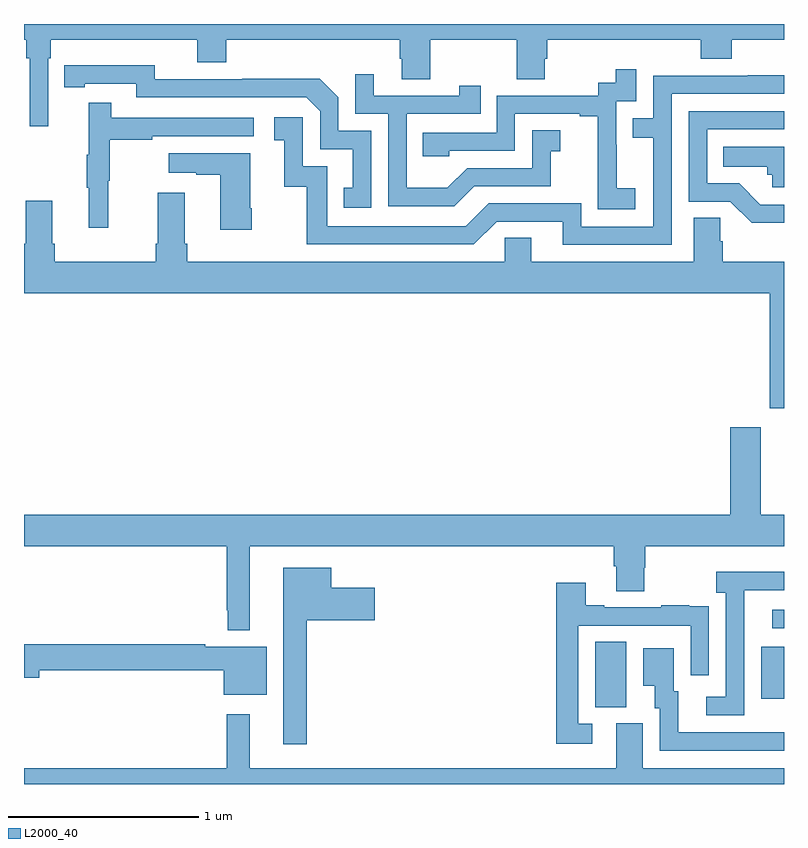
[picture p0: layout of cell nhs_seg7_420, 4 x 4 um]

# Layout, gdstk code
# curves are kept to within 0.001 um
import gdstk
lib = gdstk.Library(unit=1e-6, precision=1e-09)
def R(c, l, rs):  # rectangles x0, y0, x1, y1
    for r in rs: c.add(gdstk.rectangle(r[:2], r[2:], *l))
def P(c, l, *ps):  # polygons
    for p in ps: c.add(gdstk.Polygon(p, *l))
L2000_40 = (2000, 40)

nhs_seg7_420 = lib.new_cell('nhs_seg7_420')
R(nhs_seg7_420, L2000_40, [(146.006,1030.405,146.17,1030.748), (146.879,1030.449,147,1030.723), (146.937,1030.821,147,1030.917)])
P(nhs_seg7_420, L2000_40, [(146.561,1033.817),(146.726,1033.817),(146.726,1033.916),(147,1033.916),(147,1034),(143,1034),(143,1033.916),(143.011,1033.916),(143.011,1033.82),(143.03,1033.82),(143.03,1033.461),(143.127,1033.461),(143.127,1033.82),(143.141,1033.82),(143.141,1033.916),(143.912,1033.916),(143.912,1033.799),(144.065,1033.799),(144.065,1033.916),(144.977,1033.916),(144.977,1033.818),(144.989,1033.818),(144.989,1033.708),(145.137,1033.708),(145.137,1033.916),(145.594,1033.916),(145.594,1033.708),(145.741,1033.708),(145.741,1033.818),(145.754,1033.818),(145.754,1033.916),(146.561,1033.916)],
  [(144.828,1033.437),(144.654,1033.437),(144.654,1033.614),(144.556,1033.712),(144.148,1033.712),(144.148,1033.71),(143.688,1033.71),(143.688,1033.783),(143.212,1033.782),(143.212,1033.666),(143.32,1033.666),(143.32,1033.686),(143.592,1033.686),(143.592,1033.614),(144.486,1033.614),(144.558,1033.542),(144.558,1033.341),(144.731,1033.341),(144.731,1033.137),(144.682,1033.137),(144.682,1033.032),(144.828,1033.032)],
  [(146.218,1033.135),(146.12,1033.135),(146.12,1033.364),(146.118,1033.364),(146.118,1033.593),(146.223,1033.593),(146.223,1033.762),(146.115,1033.762),(146.115,1033.692),(146.022,1033.692),(146.022,1033.623),(145.488,1033.623),(145.488,1033.428),(145.099,1033.428),(145.099,1033.305),(145.239,1033.305),(145.239,1033.332),(145.584,1033.332),(145.584,1033.527),(145.925,1033.527),(145.925,1033.515),(146.021,1033.515),(146.021,1033.231),(146.02,1033.231),(146.02,1033.025),(146.218,1033.025)],
  [(145.369,1033.146),(145.773,1033.146),(145.773,1033.331),(145.822,1033.331),(145.822,1033.441),(145.674,1033.441),(145.674,1033.242),(145.332,1033.242),(145.228,1033.138),(145.014,1033.138),(145.014,1033.527),(145.403,1033.527),(145.403,1033.675),(145.292,1033.675),(145.292,1033.623),(144.841,1033.623),(144.841,1033.735),(144.744,1033.735),(144.744,1033.527),(144.918,1033.527),(144.918,1033.041),(145.264,1033.041)],
  [(146.409,1033.632),(147,1033.632),(147,1033.73),(146.809,1033.73),(146.809,1033.728),(146.313,1033.728),(146.313,1033.503),(146.203,1033.503),(146.203,1033.402),(146.313,1033.402),(146.313,1032.933),(145.932,1032.933),(145.932,1033.056),(145.446,1033.056),(145.326,1032.936),(144.597,1032.936),(144.597,1033.251),(144.468,1033.251),(144.468,1033.51),(144.318,1033.51),(144.318,1033.389),(144.371,1033.389),(144.371,1033.143),(144.489,1033.143),(144.489,1032.84),(145.368,1032.84),(145.488,1032.96),(145.835,1032.96),(145.835,1032.837),(146.409,1032.837)],
  [(143.444,1033.176),(143.452,1033.176),(143.452,1033.39),(143.675,1033.39),(143.675,1033.41),(144.208,1033.41),(144.208,1033.506),(143.459,1033.506),(143.459,1033.585),(143.342,1033.585),(143.342,1033.313),(143.331,1033.313),(143.331,1033.139),(143.342,1033.139),(143.342,1032.927),(143.444,1032.927)],
  [(147,1033.05),(146.875,1033.05),(146.764,1033.161),(146.595,1033.161),(146.595,1033.446),(147,1033.446),(147,1033.542),(146.499,1033.542),(146.499,1033.065),(146.718,1033.065),(146.831,1032.953),(147,1032.953)],
  [(147,1033.354),(146.68,1033.354),(146.68,1033.25),(146.911,1033.25),(146.911,1033.206),(146.937,1033.206),(146.937,1033.142),(147,1033.142)],
  [(144.198,1033.03),(144.19,1033.03),(144.19,1033.321),(143.763,1033.321),(143.763,1033.217),(143.906,1033.217),(143.906,1033.207),(144.032,1033.207),(144.032,1032.918),(144.198,1032.918)],
  [(147,1032.748),(146.678,1032.748),(146.678,1032.857),(146.664,1032.857),(146.664,1032.98),(146.525,1032.98),(146.525,1032.748),(145.669,1032.748),(145.669,1032.875),(145.53,1032.875),(145.53,1032.748),(143.858,1032.748),(143.858,1032.844),(143.845,1032.844),(143.845,1033.111),(143.705,1033.111),(143.705,1032.844),(143.693,1032.844),(143.693,1032.748),(143.162,1032.748),(143.162,1032.844),(143.149,1032.844),(143.149,1033.069),(143.009,1033.069),(143.009,1032.844),(143,1032.844),(143,1032.584),(146.924,1032.584),(146.924,1031.978),(147,1031.978)],
  [(144.187,1031.252),(146.105,1031.252),(146.105,1031.146),(146.117,1031.146),(146.117,1031.014),(146.265,1031.014),(146.265,1031.139),(146.27,1031.139),(146.27,1031.252),(147,1031.252),(147,1031.416),(146.877,1031.416),(146.877,1031.878),(146.717,1031.878),(146.717,1031.416),(143,1031.416),(143,1031.252),(144.066,1031.252),(144.066,1030.915),(144.072,1030.915),(144.072,1030.808),(144.187,1030.808)],
  [(144.487,1030.862),(144.847,1030.862),(144.847,1031.032),(144.616,1031.032),(144.616,1031.137),(144.365,1031.137),(144.365,1030.209),(144.487,1030.209)],
  [(146.79,1030.819),(146.791,1030.819),(146.791,1031.019),(147,1031.019),(147,1031.116),(146.643,1031.116),(146.643,1031.006),(146.694,1031.006),(146.694,1030.458),(146.592,1030.458),(146.592,1030.362),(146.79,1030.362)],
  [(145.99,1030.317),(145.917,1030.317),(145.917,1030.833),(146.508,1030.833),(146.508,1030.572),(146.604,1030.572),(146.604,1030.826),(146.603,1030.826),(146.603,1030.935),(146.501,1030.935),(146.501,1030.942),(146.353,1030.942),(146.353,1030.929),(146.053,1030.929),(146.053,1030.942),(145.957,1030.942),(145.957,1031.059),(145.801,1031.059),(145.801,1030.212),(145.99,1030.212)],
  [(144.277,1030.723),(143.954,1030.723),(143.954,1030.736),(143,1030.736),(143,1030.558),(143.08,1030.558),(143.08,1030.6),(144.05,1030.6),(144.05,1030.469),(144.277,1030.469)],
  [(147,1030.273),(146.927,1030.273),(146.927,1030.272),(146.443,1030.272),(146.443,1030.488),(146.419,1030.488),(146.419,1030.714),(146.258,1030.714),(146.258,1030.517),(146.321,1030.517),(146.321,1030.398),(146.346,1030.398),(146.346,1030.176),(147,1030.176)],
  [(147,1030.084),(146.257,1030.084),(146.257,1030.32),(146.117,1030.32),(146.117,1030.084),(144.187,1030.084),(144.187,1030.366),(144.066,1030.366),(144.066,1030.084),(143,1030.084),(143,1030),(147,1030)])

lib.write_gds('nhs_seg7_420.gds')
